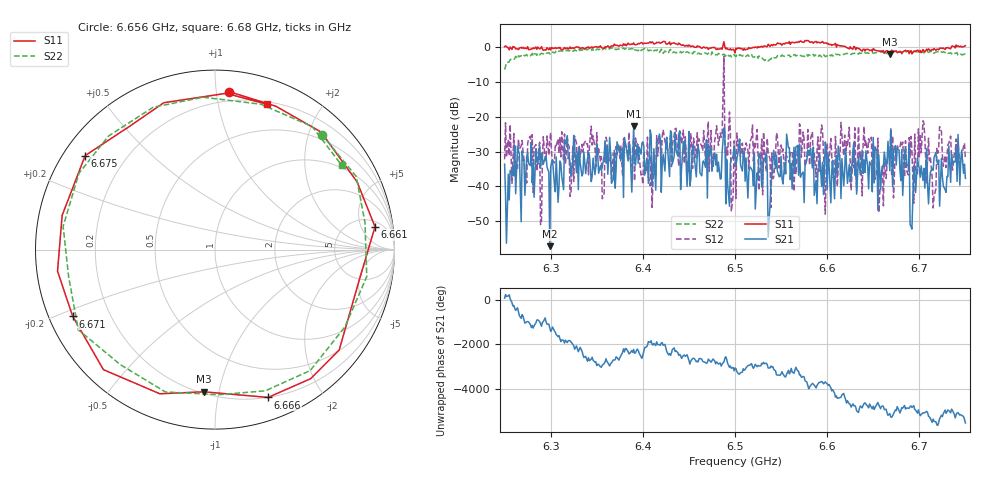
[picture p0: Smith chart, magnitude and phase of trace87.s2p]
# Hz S RI R 50
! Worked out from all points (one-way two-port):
!   401 points, 6.25 GHz to 6.75 GHz, reference 50 ohm
!   highest |S21| = -22.73 dB at 6.39 GHz (marker M1); lowest = -57.2 dB at 6.299 GHz (marker M2)
!   lowest |S11| = -2.0 dB at 6.668 GHz (marker M3), VSWR 8.74, Z = 10.5 - j45.1 ohm
!   |S11| at or under -10 dB: nowhere
!   |S22| runs from -6.4 to 0.1 dB; largest |S21 - S12| = 0.68
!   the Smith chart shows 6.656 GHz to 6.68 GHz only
!   S11 on the Smith chart (normalised r, x): 6.656 GHz: 0.13, +1.08; 6.661 GHz: 7, +9; 6.666 GHz: 0.20, -1.40; 6.671 GHz: 0.07, -0.22; 6.675 GHz: 0.06, +0.32; 6.68 GHz: 0.22, +1.39
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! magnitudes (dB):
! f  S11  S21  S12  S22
! 6.25 GHz  0.2  -33.6  -32.2  -6.4
! 6.288 GHz  -0.5  -28.2  -27.3  -2.2
! 6.299 GHz  -0.2  -57.2  -26.8  -1.9
! 6.334 GHz  -0.1  -37.0  -27.9  -0.6
! 6.39 GHz  1.3  -22.7  -26.4  -1.0
! 6.409 GHz  1.2  -25.3  -31.0  -0.9
! 6.418 GHz  1.4  -25.0  -25.8  -1.4
! 6.486 GHz  -0.5  -30.3  -25.1  -2.1
! 6.5 GHz  -1.5  -29.8  -32.6  -2.5
! 6.538 GHz  0.3  -45.1  -32.0  -3.4
! 6.584 GHz  1.6  -34.7  -24.3  -2.3
! 6.656 GHz  -1.1  -30.9  -47.5  -1.2
! 6.661 GHz  -0.9  -34.3  -45.6  -1.5
! 6.666 GHz  -1.2  -27.0  -29.3  -1.5
! 6.668 GHz  -2.0  -35.4  -32.4  -1.6
! 6.671 GHz  -1.2  -40.0  -25.5  -1.3
! 6.675 GHz  -1.0  -33.8  -31.0  -1.3
! 6.68 GHz  -1.3  -38.4  -27.1  -1.4
! 6.704 GHz  -0.6  -38.3  -21.1  -1.4
! 6.715 GHz  -0.8  -35.4  -46.2  -1.5
! 6.721 GHz  -0.7  -32.4  -28.9  -1.2
! 6.75 GHz  0.5  -37.7  -32.2  -2.0
